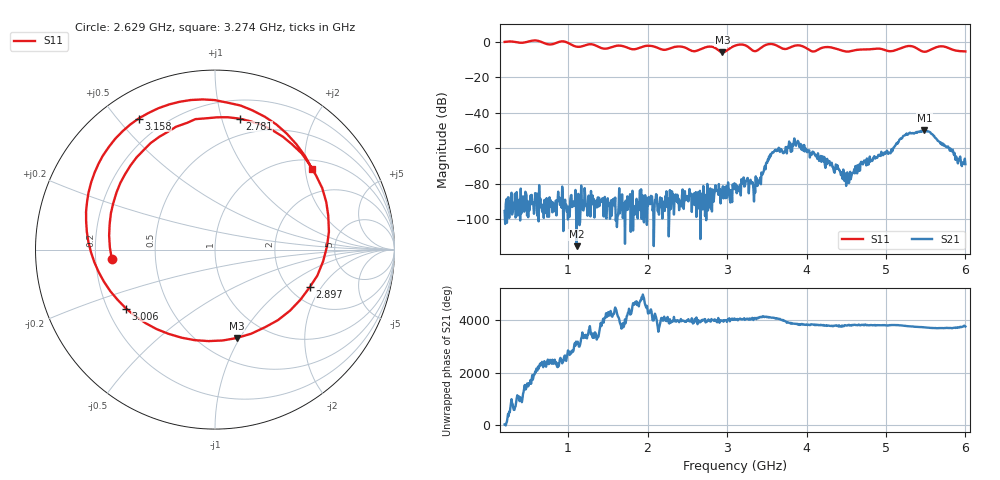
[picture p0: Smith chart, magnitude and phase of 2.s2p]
! NanoVNA-App by OneOfEleven et al v1.1.209 (+OD15)
! Date: 2024-07-30 15:20:38
! Start: 200MHz Stop: 6GHz Points: 801
! S-Parameter data: F S11 S21 S12 S22
# Hz S RI R 50
!  Frequency  S11_Real  S11_Imag  S21_Real  S21_Imag  S12_Real  S12_Imag  S22_Real  S22_Imag
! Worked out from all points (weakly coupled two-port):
!   801 points, 200 MHz to 6 GHz, reference 50 ohm
!   highest |S21| = -49.71 dB at 5.485 GHz (marker M1); lowest = -115.2 dB at 1.106 GHz (marker M2)
!   lowest |S11| = -5.9 dB at 2.941 GHz (marker M3), VSWR 3.06, Z = 36.5 - j48.5 ohm
!   |S11| at or under -10 dB: nowhere
!   S12 and S22 are empty: the file has one direction only
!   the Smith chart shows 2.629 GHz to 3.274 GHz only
!   S11 on the Smith chart (normalised r, x): 2.629 GHz: 0.27, -0.04; 2.781 GHz: 0.35, +1.14; 2.897 GHz: 2.56, -1.57; 3.006 GHz: 0.28, -0.28; 3.158 GHz: 0.11, +0.57; 3.274 GHz: 1.23, +2.18
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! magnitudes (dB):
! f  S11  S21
! 200 MHz  0.0  -95.4
! 1.106 GHz  -2.7  -115.2
! 1.171 GHz  -2.5  -90.9
! 2.136 GHz  -3.5  -91.9
! 2.629 GHz  -4.8  -85.4
! 2.781 GHz  -2.6  -85.5
! 2.897 GHz  -4.9  -80.2
! 2.941 GHz  -5.9  -83.3
! 3.006 GHz  -4.5  -85.0
! 3.1 GHz  -2.1  -83.1
! 3.158 GHz  -1.5  -81.8
! 3.274 GHz  -3.1  -85.4
! 3.397 GHz  -4.3  -78.3
! 3.622 GHz  -1.9  -61.6
! 3.869 GHz  -1.9  -58.5
! 4.072 GHz  -5.3  -62.2
! 4.506 GHz  -5.4  -74.7
! 4.71 GHz  -4.2  -69.1
! 5.036 GHz  -5.1  -62.7
! 5.239 GHz  -2.7  -52.7
! 5.485 GHz  -5.5  -49.7
! 6 GHz  -5.3  -68.9
